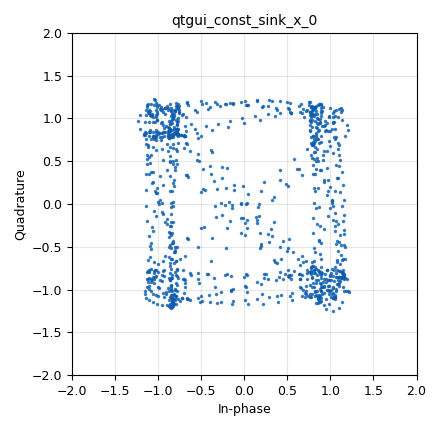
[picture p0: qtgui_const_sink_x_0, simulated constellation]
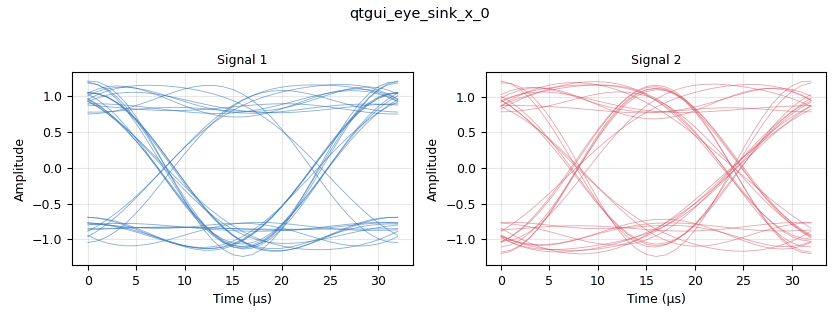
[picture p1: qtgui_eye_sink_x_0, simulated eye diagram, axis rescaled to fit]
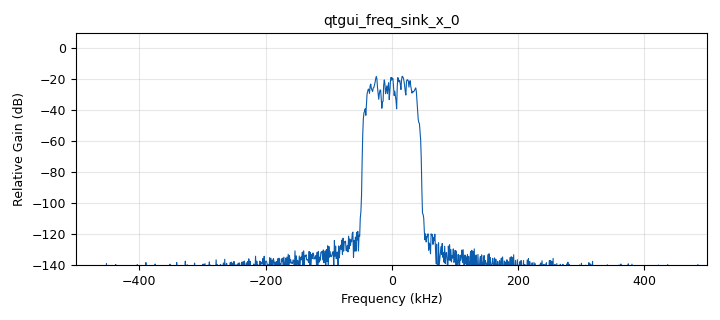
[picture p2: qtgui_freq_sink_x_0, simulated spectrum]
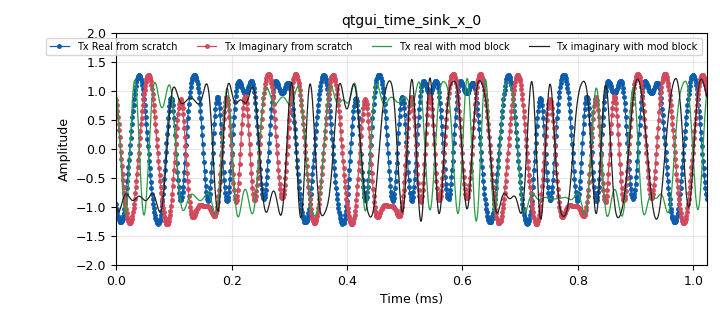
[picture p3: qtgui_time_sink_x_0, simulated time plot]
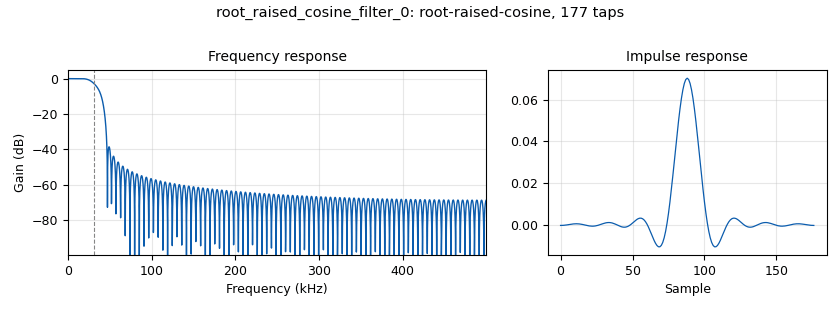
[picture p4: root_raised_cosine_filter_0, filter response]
options:
  parameters:
    generate_options: qt_gui
    id: QPSK_Tx
    output_language: python
    title: QPSK
  states: {}

blocks:
- name: Tx_gain
  id: variable_qtgui_range
  parameters:
    start: '0'
    step: '1'
    stop: '20'
    value: '10'
  states: {}
- name: alpha
  id: variable
  parameters:
    value: '0.45'
  states: {}
- name: central_freq
  id: variable
  parameters:
    value: 2.46e9
  states: {}
- name: constellation
  id: variable_constellation
  parameters:
    precision: '8'
    type: qpsk
  states: {}
- name: samp_rate
  id: variable
  parameters:
    value: 1e6
  states: {}
- name: sps
  id: variable
  parameters:
    value: '16'
  states: {}
- name: analog_random_uniform_source_x_0
  id: analog_random_uniform_source_x
  parameters:
    maximum: constellation.arity()
    minimum: '0'
    seed: '0'
    type: byte
  states: {}
- name: blocks_multiply_const_vxx_0
  id: blocks_multiply_const_vxx
  parameters:
    const: '0.6'
    type: complex
  states: {}
- name: blocks_repeat_0
  id: blocks_repeat
  parameters:
    interp: sps
    type: complex
  states: {}
- name: blocks_unpacked_to_packed_xx_0
  id: blocks_unpacked_to_packed_xx
  parameters:
    bits_per_chunk: constellation.bits_per_symbol()
    endianness: gr.GR_MSB_FIRST
    type: byte
  states: {}
- name: blocks_vector_source_x_0
  id: blocks_vector_source_x
  parameters:
    repeat: 'True'
    type: byte
    vector: (0,2,1,2,3,2,1,3,2,3,1,0,2,3,1,0,2,1,2,2)
  states: {}
- name: digital_chunks_to_symbols_xx_0
  id: digital_chunks_to_symbols_xx
  parameters:
    dimension: '1'
    in_type: byte
    out_type: complex
    symbol_table: (-1-1j, -1+1j, 1-1j, 1+1j)
  states: {}
- name: digital_constellation_modulator_0
  id: digital_constellation_modulator
  parameters:
    constellation: constellation
    differential: 'False'
    excess_bw: alpha
    samples_per_symbol: sps
  states: {}
- name: import_1
  id: import
  parameters:
    imports: import math
  states: {}
- name: qtgui_const_sink_x_0
  id: qtgui_const_sink_x
  parameters:
    size: '1024'
    type: complex
  states: {}
- name: qtgui_eye_sink_x_0
  id: qtgui_eye_sink_x
  parameters:
    samp_per_symbol: sps
    size: '1024'
    srate: samp_rate
    type: complex
  states: {}
- name: qtgui_freq_sink_x_0
  id: qtgui_freq_sink_x
  parameters:
    bw: samp_rate
    fc: '0'
    fftsize: '1024'
    type: complex
  states: {}
- name: qtgui_time_sink_x_0
  id: qtgui_time_sink_x
  parameters:
    label1: Tx Real from scratch
    label2: Tx Imaginary from scratch
    label3: Tx real with mod block
    label4: Tx imaginary with mod block
    marker1: '0'
    marker2: '0'
    nconnections: '2'
    size: '1024'
    srate: samp_rate
    style1: '2'
    type: complex
    ymax: '2'
    ymin: '-2'
  states: {}
- name: root_raised_cosine_filter_0
  id: root_raised_cosine_filter
  parameters:
    alpha: alpha
    decim: '1'
    gain: '1'
    ntaps: 11*sps
    samp_rate: samp_rate
    sym_rate: samp_rate/sps
    type: fir_filter_ccf
  states: {}
- name: uhd_usrp_sink_0
  id: uhd_usrp_sink
  parameters:
    ant0: '"TX/RX"'
    bw0: samp_rate
    center_freq0: central_freq
    gain0: Tx_gain
    samp_rate: samp_rate
    sync: none
    type: fc32
  states: {}

connections:
- [analog_random_uniform_source_x_0, '0', blocks_unpacked_to_packed_xx_0, '0']
- [blocks_multiply_const_vxx_0, '0', qtgui_const_sink_x_0, '0']
- [blocks_multiply_const_vxx_0, '0', qtgui_eye_sink_x_0, '0']
- [blocks_multiply_const_vxx_0, '0', qtgui_freq_sink_x_0, '0']
- [blocks_multiply_const_vxx_0, '0', qtgui_time_sink_x_0, '1']
- [blocks_multiply_const_vxx_0, '0', uhd_usrp_sink_0, '0']
- [blocks_repeat_0, '0', root_raised_cosine_filter_0, '0']
- [blocks_unpacked_to_packed_xx_0, '0', digital_constellation_modulator_0, '0']
- [blocks_vector_source_x_0, '0', digital_chunks_to_symbols_xx_0, '0']
- [digital_chunks_to_symbols_xx_0, '0', blocks_repeat_0, '0']
- [digital_constellation_modulator_0, '0', blocks_multiply_const_vxx_0, '0']
- [root_raised_cosine_filter_0, '0', qtgui_time_sink_x_0, '0']

metadata:
  file_format: 1
  grc_version: 3.10.12.0
